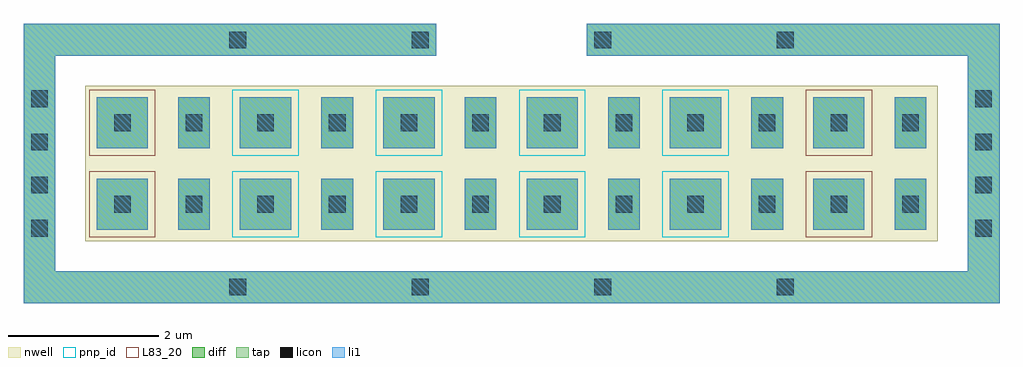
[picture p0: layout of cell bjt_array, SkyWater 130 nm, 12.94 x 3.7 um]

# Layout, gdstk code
import gdstk
lib = gdstk.Library(unit=1e-6, precision=1e-09)
def R(c, l, rs):  # rectangles x0, y0, x1, y1
    for r in rs: c.add(gdstk.rectangle(r[:2], r[2:], *l))
def A(c, l, x, y, w, h, nx, ny, dx, dy):  # array of equal rectangles
    R(c, l, [(x+i*dx, y+j*dy, x+i*dx+w, y+j*dy+h) for i in range(nx) for j in range(ny)])
def P(c, l, *ps):  # polygons
    for p in ps: c.add(gdstk.Polygon(p, *l))
nwell = (64, 20)
diff = (65, 20)
tap = (65, 44)
licon = (66, 44)
li1 = (67, 20)
pnp_id = (82, 44)
L83_20 = (83, 20)

bjt_array = lib.new_cell('bjt_array')
R(bjt_array, nwell, [(-2.05,-0.15,9.25,1.91)])
A(bjt_array, diff, -1.9, 0, 0.68, 0.68, 6, 2, 1.9, 1.08)
A(bjt_array, diff, -0.82, 0, 0.42, 0.68, 6, 2, 1.9, 1.08)
P(bjt_array, diff, [(-2.87,-0.97),(-2.87,2.73),(2.6,2.73),(2.6,2.31),(-2.45,2.31),(-2.45,-0.55),(9.65,-0.55),(9.65,2.31),(4.6,2.31),(4.6,2.73),(10.07,2.73),(10.07,-0.97)])
A(bjt_array, tap, -0.82, 0, 0.42, 0.68, 6, 2, 1.9, 1.08)
A(bjt_array, licon, -0.14, -0.87, 0.22, 0.22, 4, 2, 2.42, 3.28)
A(bjt_array, licon, -2.77, -0.088, 0.22, 0.22, 1, 4, 0, 0.572)
A(bjt_array, licon, 9.75, -0.088, 0.22, 0.22, 1, 4, 0, 0.572)
A(bjt_array, licon, -1.67, 0.23, 0.22, 0.22, 12, 2, 0.95, 1.08)
A(bjt_array, li1, -1.9, 0, 0.68, 0.68, 6, 2, 1.9, 1.08)
A(bjt_array, li1, -0.82, 0, 0.42, 0.68, 6, 2, 1.9, 1.08)
P(bjt_array, li1, [(-2.87,-0.97),(-2.87,2.73),(2.6,2.73),(2.6,2.31),(-2.45,2.31),(-2.45,-0.55),(9.65,-0.55),(9.65,2.31),(4.6,2.31),(4.6,2.73),(10.07,2.73),(10.07,-0.97)])
A(bjt_array, pnp_id, -2, -0.1, 0.88, 0.88, 6, 2, 1.9, 1.08)
R(bjt_array, L83_20, [(-2,-0.1,-1.12,0.78), (7.5,-0.1,8.38,0.78), (-2,0.98,-1.12,1.86), (7.5,0.98,8.38,1.86)])

lib.write_gds('bjt_array.gds')
